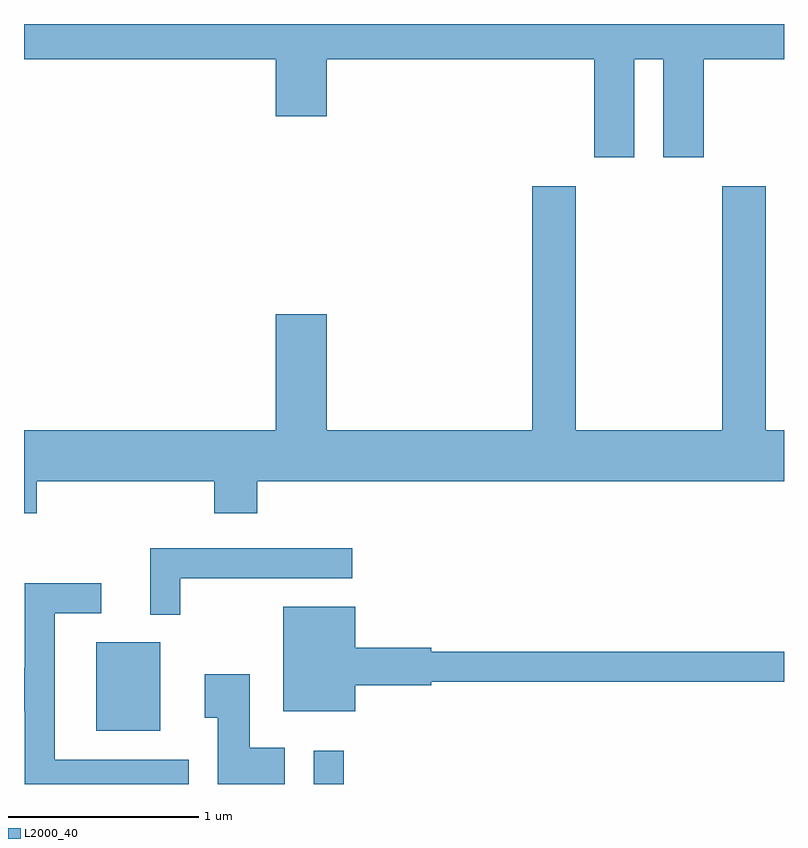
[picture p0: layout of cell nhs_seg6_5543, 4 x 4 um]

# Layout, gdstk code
import gdstk
lib = gdstk.Library(unit=1e-6, precision=1e-09)
def R(c, l, rs):  # rectangles x0, y0, x1, y1
    for r in rs: c.add(gdstk.rectangle(r[:2], r[2:], *l))
def P(c, l, *ps):  # polygons
    for p in ps: c.add(gdstk.Polygon(p, *l))
L2000_40 = (2000, 40)

nhs_seg6_5543 = lib.new_cell('nhs_seg6_5543')
R(nhs_seg6_5543, L2000_40, [(355.136,1606.162,355.294,1606.338), (353.991,1606.441,354.329,1606.909)])
P(nhs_seg6_5543, L2000_40, [(356.824,1609.976),(356.976,1609.976),(356.976,1609.461),(357.189,1609.461),(357.189,1609.976),(357.611,1609.976),(357.611,1610.162),(353.611,1610.162),(353.611,1609.976),(354.936,1609.976),(354.936,1609.676),(355.204,1609.676),(355.204,1609.976),(356.611,1609.976),(356.611,1609.461),(356.824,1609.461)],
  [(353.679,1607.756),(354.611,1607.756),(354.611,1607.586),(354.839,1607.586),(354.839,1607.756),(357.611,1607.756),(357.611,1608.024),(357.514,1608.024),(357.514,1609.309),(357.286,1609.309),(357.286,1608.024),(356.514,1608.024),(356.514,1609.309),(356.286,1609.309),(356.286,1608.024),(355.204,1608.024),(355.204,1608.634),(354.936,1608.634),(354.936,1608.024),(353.611,1608.024),(353.611,1607.586),(353.679,1607.586)],
  [(354.434,1607.246),(355.338,1607.246),(355.338,1607.404),(354.276,1607.404),(354.276,1607.053),(354.434,1607.053)],
  [(354.478,1606.289),(353.774,1606.289),(353.774,1607.061),(354.018,1607.061),(354.018,1607.219),(353.616,1607.219),(353.616,1606.774),(353.611,1606.774),(353.611,1606.546),(353.616,1606.546),(353.616,1606.162),(354.478,1606.162)],
  [(355.354,1606.681),(355.754,1606.681),(355.754,1606.701),(357.611,1606.701),(357.611,1606.859),(355.754,1606.859),(355.754,1606.879),(355.354,1606.879),(355.354,1607.094),(354.976,1607.094),(354.976,1606.546),(355.354,1606.546)],
  [(354.984,1606.354),(354.799,1606.354),(354.799,1606.739),(354.561,1606.739),(354.561,1606.511),(354.631,1606.511),(354.631,1606.162),(354.984,1606.162)])

lib.write_gds('nhs_seg6_5543.gds')
